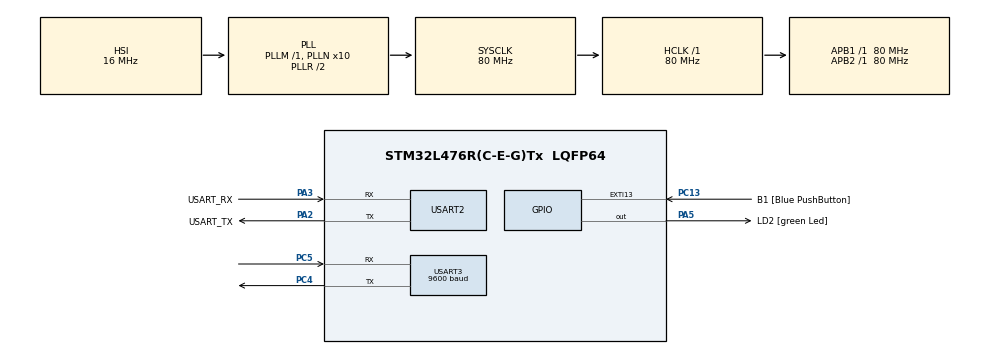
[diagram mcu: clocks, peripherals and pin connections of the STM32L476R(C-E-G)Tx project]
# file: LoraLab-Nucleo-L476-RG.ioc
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Mcu.Family=STM32L4
Mcu.Name=STM32L476R(C-E-G)Tx
Mcu.Package=LQFP64
NVIC.PriorityGroup=NVIC_PRIORITYGROUP_4
NVIC.USART3_IRQn=true\:0\:0\:false\:false\:true\:true\:true\:true
PA13\ (JTMS-SWDIO).GPIO_Label=TMS
PA13\ (JTMS-SWDIO).Mode=Serial_Wire
PA13\ (JTMS-SWDIO).Signal=SYS_JTMS-SWDIO
PA14\ (JTCK-SWCLK).GPIO_Label=TCK
PA14\ (JTCK-SWCLK).Mode=Serial_Wire
PA14\ (JTCK-SWCLK).Signal=SYS_JTCK-SWCLK
PA2.GPIO_Label=USART_TX
PA2.GPIO_Mode=GPIO_MODE_AF_PP
PA2.GPIO_PuPd=GPIO_NOPULL
PA2.GPIO_Speed=GPIO_SPEED_FREQ_VERY_HIGH
PA2.Mode=Asynchronous
PA2.Signal=USART2_TX
PA3.GPIO_Label=USART_RX
PA3.GPIO_Mode=GPIO_MODE_AF_PP
PA3.GPIO_PuPd=GPIO_NOPULL
PA3.GPIO_Speed=GPIO_SPEED_FREQ_VERY_HIGH
PA3.Mode=Asynchronous
PA3.Signal=USART2_RX
PA5.GPIO_Label=LD2 [green Led]
PA5.GPIO_ModeDefaultOutputPP=GPIO_MODE_OUTPUT_PP
PA5.GPIO_PuPd=GPIO_NOPULL
PA5.GPIO_Speed=GPIO_SPEED_FREQ_LOW
PA5.Signal=GPIO_Output
PB3\ (JTDO-TRACESWO).GPIO_Label=SWO
PB3\ (JTDO-TRACESWO).Signal=SYS_JTDO-SWO
PC13.GPIO_Label=B1 [Blue PushButton]
PC13.GPIO_ModeDefaultEXTI=GPIO_MODE_IT_FALLING
PC13.GPIO_PuPd=GPIO_NOPULL
PC13.Signal=GPXTI13
PC14-OSC32_IN\ (PC14).Mode=LSE-External-Oscillator
PC14-OSC32_IN\ (PC14).Signal=RCC_OSC32_IN
PC15-OSC32_OUT\ (PC15).Mode=LSE-External-Oscillator
PC15-OSC32_OUT\ (PC15).Signal=RCC_OSC32_OUT
PC4.Mode=Asynchronous
PC4.Signal=USART3_TX
PC5.Mode=Asynchronous
PC5.Signal=USART3_RX
PH0-OSC_IN\ (PH0).Signal=RCC_OSC_IN
PH1-OSC_OUT\ (PH1).Signal=RCC_OSC_OUT
ProjectManager.HeapSize=0x200
ProjectManager.StackSize=0x400
ProjectManager.TargetToolchain=STM32CubeIDE
RCC.ADCFreq_Value=64000000
RCC.AHBFreq_Value=80000000
RCC.APB1Freq_Value=80000000
RCC.APB1TimFreq_Value=80000000
RCC.APB2Freq_Value=80000000
RCC.APB2TimFreq_Value=80000000
RCC.CortexFreq_Value=80000000
RCC.HCLKFreq_Value=80000000
RCC.HSE_VALUE=8000000
RCC.HSI_VALUE=16000000
RCC.MSI_VALUE=4000000
RCC.PLLN=10
RCC.PLLSourceVirtual=RCC_PLLSOURCE_HSI
RCC.PREFETCH_ENABLE=1
RCC.SYSCLKFreq_VALUE=80000000
RCC.SYSCLKSource=RCC_SYSCLKSOURCE_PLLCLK
RCC.USBFreq_Value=64000000
RCC.VCOOutputFreq_Value=160000000
USART2.VirtualMode-Asynchronous=VM_ASYNC
USART3.BaudRate=9600
USART3.VirtualMode-Asynchronous=VM_ASYNC
board=NUCLEO-L476RG

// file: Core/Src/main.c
/* USER CODE BEGIN Header */
/**
  ******************************************************************************
  * @file           : main.c
  * @brief          : Main program body
  ******************************************************************************
  * @attention
  *
  * Copyright (c) 2024 STMicroelectronics.
  * All rights reserved.
  *
  * This software is licensed under terms that can be found in the LICENSE file
  * in the root directory of this software component.
  * If no LICENSE file comes with this software, it is provided AS-IS.
  *
  ******************************************************************************
  */
/* USER CODE END Header */
#include "main.h"
#include "usart.h"
#include "gpio.h"

/* USER CODE BEGIN Includes */
#include <string.h>
#include <stdio.h>
#include <stdbool.h>
/* USER CODE END Includes */

/* USER CODE BEGIN PV */
// Buffers for USART3
// Global variables
bool connectedToTTN = false; // Flag to indicate TTN connection
#define RX_BUFFER_SIZE 256
uint8_t rx_buffer[1];       // Buffer for receiving one byte
char rx_accumulated[RX_BUFFER_SIZE]; // Accumulated buffer
volatile uint16_t rx_index = 0;      // Index for accumulated buffer

#define TX_BUFFER_SIZE 256
char tx_buffer[TX_BUFFER_SIZE]; // Buffer for transmission
volatile bool tx_busy = false; // Transmission state flag

/* USER CODE END PV */

void SystemClock_Config(void);

/* USER CODE BEGIN 0 */

int __io_putchar(int ch) {
    HAL_UART_Transmit(&huart2, (uint8_t *)&ch, 1, HAL_MAX_DELAY);
    return ch;
}

// Callback for UART reception complete
void HAL_UART_RxCpltCallback(UART_HandleTypeDef *huart) {
    if (huart->Instance == USART3) {
        // Accumulate received character
        rx_accumulated[rx_index++] = rx_buffer[0];
        HAL_UART_Transmit(&huart2, &rx_buffer[0], 1, HAL_MAX_DELAY);

        // Check for line termination
        if (rx_buffer[0] == '\n' || rx_index >= RX_BUFFER_SIZE - 1) {
            rx_accumulated[rx_index] = '\0'; // Null-terminate the string
            rx_index = 0; // Reset the index

            // Check for "+JOIN: Done" in the received data
            if (strstr(rx_accumulated, "+JOIN: Network joined") != NULL) {
                connectedToTTN = true;
                printf("Connected to TTN!\r\n");
            }
        }

        // Restart reception for the next character
        HAL_UART_Receive_IT(&huart3, rx_buffer, 1);
    }
}

// LoRa configuration via USART3
void connectToTTN(void) {
    printf("Starting LoRa setup...\r\n");

    char *commands[] = {
        "AT+ID=DevEui\r\n",
        "AT+ID=AppEui\r\n",
        "AT+DR=EU868\r\n",
        "AT+CH=NUM,0-2\r\n",
        "AT+MODE=LWOTAA\r\n",
        "AT+KEY=APPKEY,\"2023D20D5F01C8AC486188209ADF5DB6\"\r\n",
        "AT+ID\r\n",
		"AT+POWER?\r\n",
        "AT+JOIN\r\n"
    };

    for (int i = 0; i < sizeof(commands) / sizeof(commands[0]); i++) {
    	HAL_UART_Transmit(&huart2, (uint8_t *)commands[i], strlen(commands[i]), HAL_MAX_DELAY);
        HAL_UART_Transmit(&huart3, (uint8_t *)commands[i], strlen(commands[i]), HAL_MAX_DELAY);
        HAL_Delay(1000);
    }
}

void sendMessage(const char* message)
{
	HAL_UART_Transmit(&huart2, (uint8_t *)message, strlen(message), HAL_MAX_DELAY);
	HAL_UART_Transmit(&huart3, (uint8_t *)message, strlen(message), HAL_MAX_DELAY);
}

/* USER CODE END 0 */

int main(void)
{

  /* MCU Configuration--------------------------------------------------------*/

  /* Reset of all peripherals, Initializes the Flash interface and the Systick. */
  HAL_Init();

  /* Configure the system clock */
  SystemClock_Config();

  /* Initialize all configured peripherals */
  MX_GPIO_Init();
  MX_USART2_UART_Init();
  MX_USART3_UART_Init();
  /* USER CODE BEGIN 2 */

  HAL_UART_Receive_IT(&huart3, rx_buffer, 1);
  /* USER CODE END 2 */

  /* Infinite loop */
  /* USER CODE BEGIN WHILE */
  while (1)
  {
	  while (!connectedToTTN)
	  	  {
	  		  connectToTTN();
	  		  HAL_Delay(10000);
	  	  }

	  	  HAL_Delay(1000);

	  	  sendMessage("AT+MSG=Hello_TTN!\r\n");

	  	  HAL_Delay(10000);
    /* USER CODE END WHILE */

  }
}

void SystemClock_Config(void)
{
  RCC_OscInitTypeDef RCC_OscInitStruct = {0};
  RCC_ClkInitTypeDef RCC_ClkInitStruct = {0};

  /** Configure the main internal regulator output voltage
  */
  if (HAL_PWREx_ControlVoltageScaling(PWR_REGULATOR_VOLTAGE_SCALE1) != HAL_OK)
  {
    Error_Handler();
  }

  /** Initializes the RCC Oscillators according to the specified parameters
  * in the RCC_OscInitTypeDef structure.
  */
  RCC_OscInitStruct.OscillatorType = RCC_OSCILLATORTYPE_HSI;
  RCC_OscInitStruct.HSIState = RCC_HSI_ON;
  RCC_OscInitStruct.HSICalibrationValue = RCC_HSICALIBRATION_DEFAULT;
  RCC_OscInitStruct.PLL.PLLState = RCC_PLL_ON;
  RCC_OscInitStruct.PLL.PLLSource = RCC_PLLSOURCE_HSI;
  RCC_OscInitStruct.PLL.PLLM = 1;
  RCC_OscInitStruct.PLL.PLLN = 10;
  RCC_OscInitStruct.PLL.PLLP = RCC_PLLP_DIV7;
  RCC_OscInitStruct.PLL.PLLQ = RCC_PLLQ_DIV2;
  RCC_OscInitStruct.PLL.PLLR = RCC_PLLR_DIV2;
  if (HAL_RCC_OscConfig(&RCC_OscInitStruct) != HAL_OK)
  {
    Error_Handler();
  }

  /** Initializes the CPU, AHB and APB buses clocks
  */
  RCC_ClkInitStruct.ClockType = RCC_CLOCKTYPE_HCLK|RCC_CLOCKTYPE_SYSCLK
                              |RCC_CLOCKTYPE_PCLK1|RCC_CLOCKTYPE_PCLK2;
  RCC_ClkInitStruct.SYSCLKSource = RCC_SYSCLKSOURCE_PLLCLK;
  RCC_ClkInitStruct.AHBCLKDivider = RCC_SYSCLK_DIV1;
  RCC_ClkInitStruct.APB1CLKDivider = RCC_HCLK_DIV1;
  RCC_ClkInitStruct.APB2CLKDivider = RCC_HCLK_DIV1;

  if (HAL_RCC_ClockConfig(&RCC_ClkInitStruct, FLASH_LATENCY_4) != HAL_OK)
  {
    Error_Handler();
  }
}

void Error_Handler(void)
{
  __disable_irq();
  while (1)
  {
  }
}
